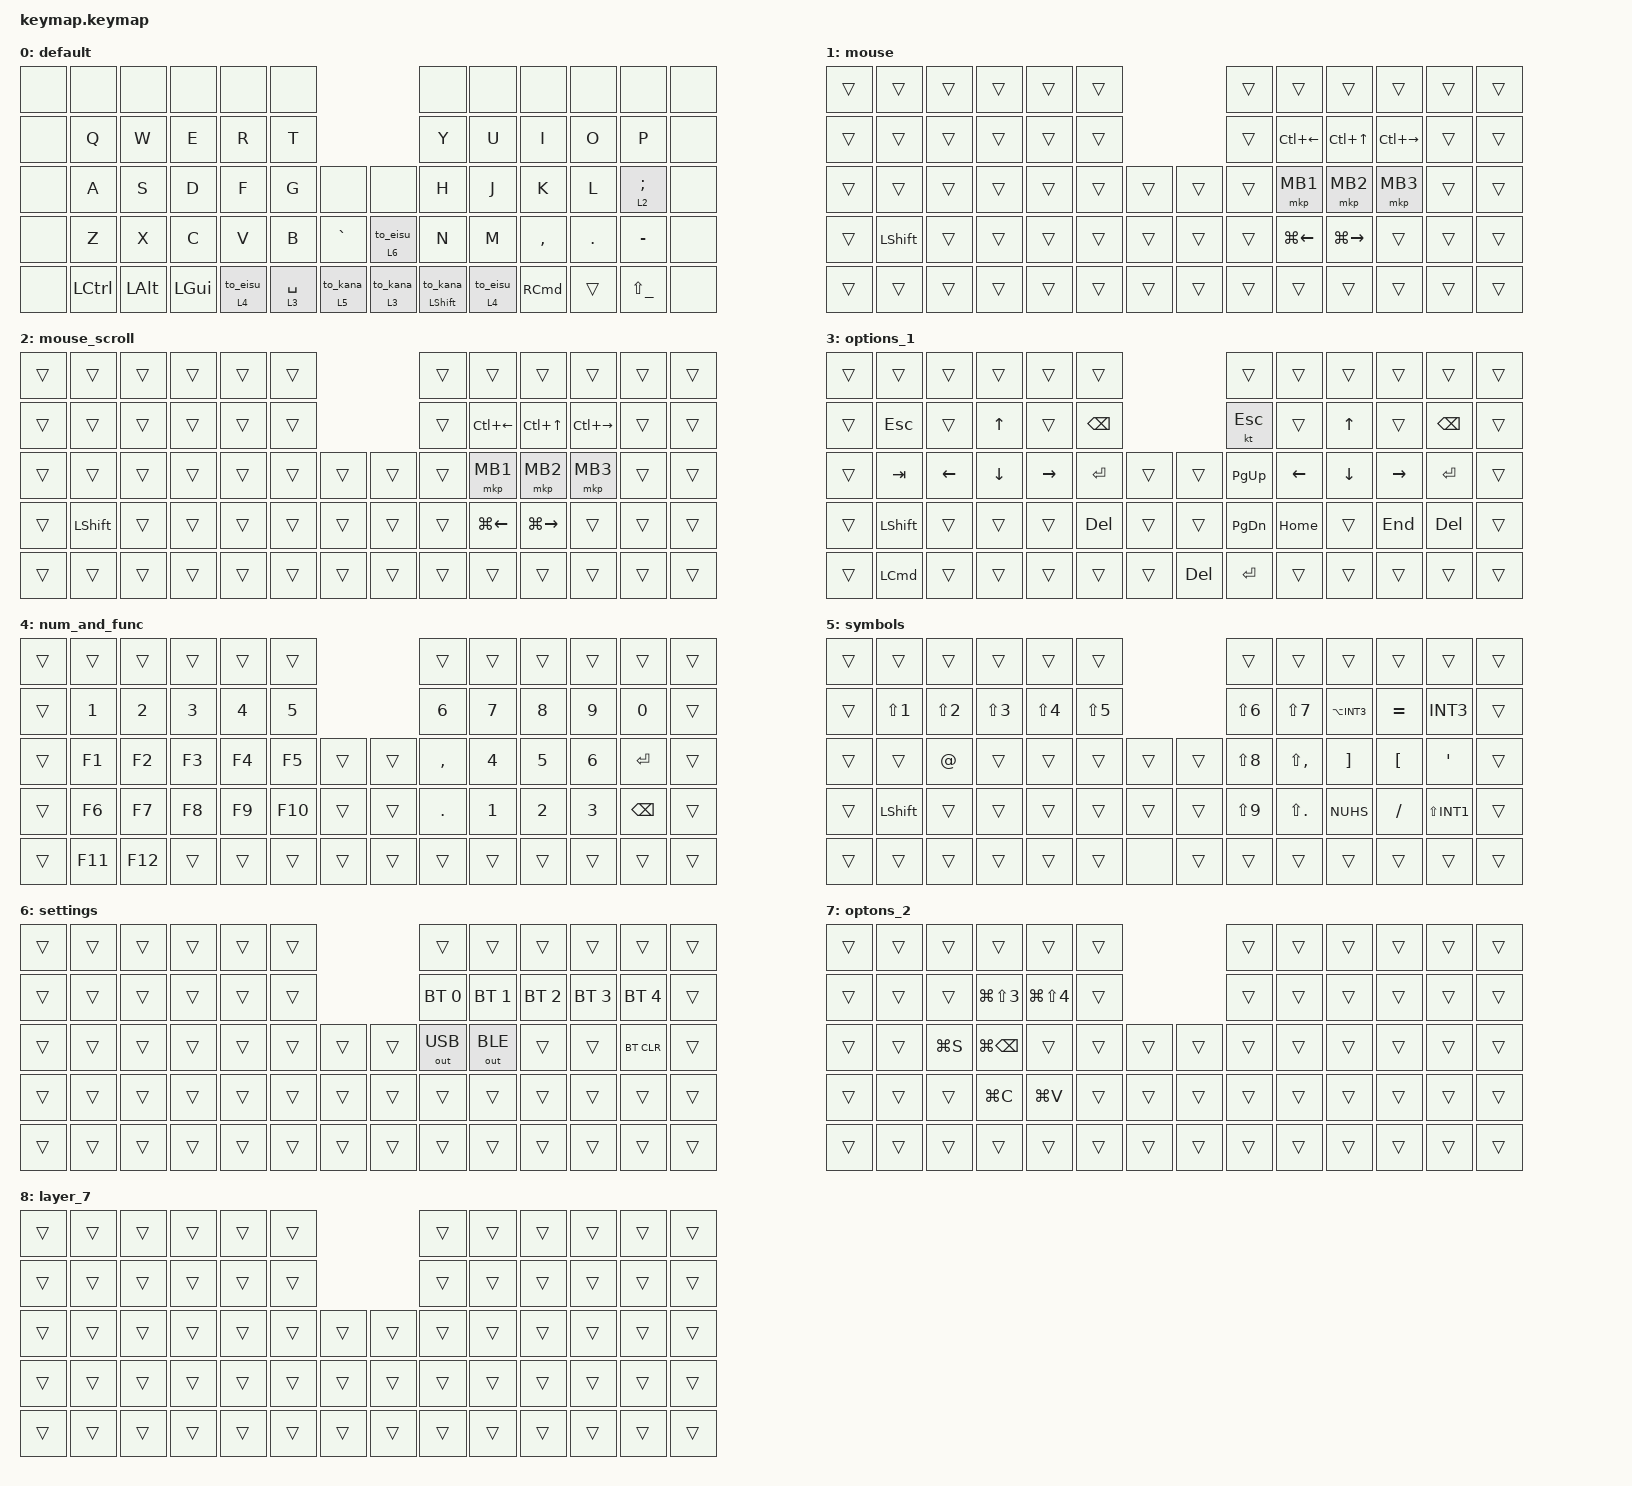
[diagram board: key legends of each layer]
// OS設定を日本語キーボードのまま使用するための変換定義

#define JP_ZKHK  GRAVE        // Zenkaku ↔ Hankaku ↔ Kanji (半角 ↔ 全角 ↔ 漢字)
#define JP_MINUS MINUS        // -
#define JP_CARET EQUAL        // ^
#define JP_YEN   INT3         // ¥
#define JP_AT    LBKT         // @
#define JP_LBKT  RBKT         // [
#define JP_EISU  CAPS         // Eisū (英数)
#define JP_SEMI  SEMI         // ;
#define JP_COLON SQT          // :
#define JP_RBKT  NUHS         // ]
#define JP_COMMA COMMA        // ,
#define JP_DOT   DOT          // .
#define JP_SLASH SLASH        // /

// #define JP_BSLH  INT1      // (backslash)

#define JP_BSLH  LA(INT3)     // \(backslash)
#define JP_MHEN  INT5         // Muhenkan (無変換)
#define JP_HENK  INT4         // Henkan (変換)
#define JP_KANA  INT2         // Katakana ↔ Hiragana ↔ Rōmaji (カタカナ ↔ ひらがな ↔ ローマ字)
#define JP_EXCL  LS(N1)       // !
#define JP_DQT   LS(N2)       // "
#define JP_HASH  LS(N3)       // #
#define JP_DLLR  LS(N4)       // $
#define JP_PRCNT LS(N5)       // %
#define JP_AMPS  LS(N6)       // &
#define JP_SQT   LS(N7)       // '
#define JP_LPAR  LS(N8)       // (
#define JP_RPAR  LS(N9)       // )
#define JP_EQUAL LS(JP_MINUS) // =
#define JP_TILDE LS(JP_CARET) // ~
#define JP_PIPE  LS(JP_YEN)   // |
#define JP_GRAVE LS(JP_AT)    // `
#define JP_LBRC  LS(JP_LBKT)  // {
#define JP_CAPS  LS(JP_EISU)  // Caps Lock
#define JP_PLUS  LS(JP_SEMI)  // +
#define JP_ASTRK LS(JP_COLON) // *
#define JP_RBRC  LS(JP_RBKT)  // }
#define JP_LT    LS(JP_COMMA) // <
#define JP_RT    LS(JP_DOT)   // >
#define JP_QMARK LS(JP_SLASH) // ?
#define JP_UNDER LS(INT1)     // _

// /OS設定を日本語キーボードのまま使用するための変換定義

#include <behaviors.dtsi>
#include <dt-bindings/zmk/bt.h>
#include <dt-bindings/zmk/keys.h>
#include <dt-bindings/zmk/outputs.h>
#include <dt-bindings/zmk/pointing.h>

&lt {
    flavor = "hold-preferred";
    quick-tap-ms = <(-1)>;
    require-prior-idle-ms = <(-1)>;
};

&mt { flavor = "hold-preferred"; };

/ {
    combos {
        compatible = "zmk,combos";

        sys_reset {
            bindings = <&sys_reset>;
            key-positions = <53 64>;
        };

        to_number {
            bindings = <&mo 4>;
            key-positions = <59 60>;
        };

        to_option2 {
            bindings = <&mo 7>;
            key-positions = <58 57>;
        };

        kp_command {
            bindings = <&kp LEFT_COMMAND>;
            key-positions = <56 57>;
        };
    };

    macros {
        to_eisu: to_eisu {
            compatible = "zmk,behavior-macro";
            #binding-cells = <0>;
            bindings = <&kp LANG2 &kp INT5>;
            label = "TO_EISU";
        };

        to_kana: to_kana {
            compatible = "zmk,behavior-macro";
            #binding-cells = <0>;
            bindings = <&kp LANG1 &kp INT4>;
            label = "TO_KANA";
        };
    };

    behaviors {
        lt_eisu: lt_eisu {
            compatible = "zmk,behavior-hold-tap";
            label = "LT_EISU";
            bindings = <&mo>, <&to_eisu>;

            #binding-cells = <2>;
            tapping-term-ms = <150>;
            flavor = "hold-preferred";
            quick-tap-ms = <250>;
        };

        lt_kana: lt_kana {
            compatible = "zmk,behavior-hold-tap";
            label = "LT_KANA";
            bindings = <&mo>, <&to_kana>;

            #binding-cells = <2>;
            tapping-term-ms = <150>;
            flavor = "hold-preferred";
            quick-tap-ms = <250>;
        };

        mt_eisu: mt_eisu {
            compatible = "zmk,behavior-hold-tap";
            label = "MT_EISU";
            bindings = <&kp>, <&to_eisu>;

            #binding-cells = <2>;
            tapping-term-ms = <200>;
            flavor = "tap-unless-interrupted";
        };

        mt_kana: mt_kana {
            compatible = "zmk,behavior-hold-tap";
            label = "MT_KANA";
            bindings = <&kp>, <&to_kana>;

            #binding-cells = <2>;
            tapping-term-ms = <200>;
            flavor = "balanced";
        };

        lt_retro: lt_retro {
            compatible = "zmk,behavior-hold-tap";
            label = "LT_RETRO";
            bindings = <&mo>, <&kp>;

            #binding-cells = <2>;
            tapping-term-ms = <0>;
            retro-tap;
        };

        mt_retor: mt_retor {
            compatible = "zmk,behavior-hold-tap";
            label = "MT_RETOR";
            bindings = <&kp>, <&kp>;

            #binding-cells = <2>;
            tapping-term-ms = <0>;
            retro-tap;
        };

        lt_tp: lt_tp {
            compatible = "zmk,behavior-hold-tap";
            label = "LT_TP";
            bindings = <&mo>, <&kp>;

            #binding-cells = <2>;
            tapping-term-ms = <200>;
            flavor = "tap-preferred";
            quick-tap-ms = <250>;
        };

        lt_unless: lt_unless {
            compatible = "zmk,behavior-hold-tap";
            label = "LT_UNLESS";
            bindings = <&mo>, <&kp>;

            #binding-cells = <2>;
            flavor = "tap-unless-interrupted";
            tapping-term-ms = <1000>;
            quick-tap-ms = <(-1)>;
            require-prior-idle-ms = <(-1)>;
        };

        lt_hp: lt_hp {
            compatible = "zmk,behavior-hold-tap";
            label = "LT_HP";
            bindings = <&mo>, <&kp>;

            #binding-cells = <2>;
            flavor = "hold-preferred";
            tapping-term-ms = <150>;
            quick-tap-ms = <250>;
        };

        mt_ba: mt_ba {
            compatible = "zmk,behavior-hold-tap";
            label = "MT_BA";
            bindings = <&kp>, <&kp>;

            #binding-cells = <2>;
            flavor = "balanced";
            tapping-term-ms = <200>;
            quick-tap-ms = <250>;
        };

        func_L1: func_L1 {
            compatible = "zmk,behavior-hold-tap";
            label = "FUNC_L1";
            bindings = <&mo>, <&to_eisu>;

            #binding-cells = <2>;
            flavor = "hold-preferred";
            tapping-term-ms = <150>;
        };

        func_L2: func_L2 {
            compatible = "zmk,behavior-hold-tap";
            label = "FUNC_L2";
            bindings = <&mo>, <&kp>;

            #binding-cells = <2>;
            flavor = "hold-preferred";
            tapping-term-ms = <250>;
        };

        func_R2: func_R2 {
            compatible = "zmk,behavior-hold-tap";
            label = "FUNC_R2";
            bindings = <&kp>, <&lt_kana>;

            #binding-cells = <2>;
            flavor = "hold-preferred";
            quick-tap-ms = <150>;
            tapping-term-ms = <175>;
        };
    };

    keymap {
        compatible = "zmk,keymap";

        default {
            bindings = <
&none  &none      &none     &none     &none         &none                                         &none                  &none         &none              &none    &none          &none
&none  &kp Q      &kp W     &kp E     &kp R         &kp T                                         &kp Y                  &kp U         &kp I              &kp O    &kp P          &none
&none  &kp A      &kp S     &kp D     &kp F         &kp G             &none         &none         &kp H                  &kp J         &kp K              &kp L    &lt_hp 2 SEMI  &none
&none  &kp Z      &kp X     &kp C     &kp V         &kp B             &kp JP_ZKHK   &lt_eisu 6 0  &kp N                  &kp M         &kp COMMA          &kp DOT  &kp MINUS      &none
&none  &kp LCTRL  &kp LALT  &kp LGUI  &func_L1 4 0  &func_L2 3 SPACE  &lt_kana 5 0  &lt_kana 3 0  &mt_kana LEFT_SHIFT 0  &func_L1 4 0  &kp RIGHT_COMMAND  &trans   &kp LS(UNDER)  &none
            >;
        };

        mouse {
            bindings = <
&trans  &trans          &trans  &trans  &trans  &trans                  &trans  &trans              &trans         &trans         &trans  &trans
&trans  &trans          &trans  &trans  &trans  &trans                  &trans  &kp LC(LEFT)        &kp LC(UP)     &kp LC(RIGHT)  &trans  &trans
&trans  &trans          &trans  &trans  &trans  &trans  &trans  &trans  &trans  &mkp MB1            &mkp MB2       &mkp MB3       &trans  &trans
&trans  &kp LEFT_SHIFT  &trans  &trans  &trans  &trans  &trans  &trans  &trans  &kp LG(LEFT_ARROW)  &kp LG(RIGHT)  &trans         &trans  &trans
&trans  &trans          &trans  &trans  &trans  &trans  &trans  &trans  &trans  &trans              &trans         &trans         &trans  &trans
            >;
        };

        mouse_scroll {
            bindings = <
&trans  &trans          &trans  &trans  &trans  &trans                  &trans  &trans              &trans         &trans         &trans  &trans
&trans  &trans          &trans  &trans  &trans  &trans                  &trans  &kp LC(LEFT)        &kp LC(UP)     &kp LC(RIGHT)  &trans  &trans
&trans  &trans          &trans  &trans  &trans  &trans  &trans  &trans  &trans  &mkp MB1            &mkp MB2       &mkp MB3       &trans  &trans
&trans  &kp LEFT_SHIFT  &trans  &trans  &trans  &trans  &trans  &trans  &trans  &kp LG(LEFT_ARROW)  &kp LG(RIGHT)  &trans         &trans  &trans
&trans  &trans          &trans  &trans  &trans  &trans  &trans  &trans  &trans  &trans              &trans         &trans         &trans  &trans
            >;
        };

        options_1 {
            bindings = <
&trans  &trans            &trans    &trans    &trans     &trans                          &trans     &trans    &trans    &trans     &trans      &trans
&trans  &kp ESC           &trans    &kp UP    &trans     &kp BSPC                        &kt ESC    &trans    &kp UP    &trans     &kp BSPC    &trans
&trans  &kp TAB           &kp LEFT  &kp DOWN  &kp RIGHT  &kp RET     &trans  &trans      &kp PG_UP  &kp LEFT  &kp DOWN  &kp RIGHT  &kp ENTER   &trans
&trans  &kp LSHFT         &trans    &trans    &trans     &kp DELETE  &trans  &trans      &kp PG_DN  &kp HOME  &trans    &kp END    &kp DELETE  &trans
&trans  &kp LEFT_COMMAND  &trans    &trans    &trans     &trans      &trans  &kp DELETE  &kp RET    &trans    &trans    &trans     &trans      &trans
            >;
        };

        num_and_func {
            bindings = <
&trans  &trans   &trans   &trans  &trans  &trans                   &trans     &trans  &trans  &trans  &trans         &trans
&trans  &kp N1   &kp N2   &kp N3  &kp N4  &kp N5                   &kp N6     &kp N7  &kp N8  &kp N9  &kp N0         &trans
&trans  &kp F1   &kp F2   &kp F3  &kp F4  &kp F5   &trans  &trans  &kp COMMA  &kp N4  &kp N5  &kp N6  &kp ENTER      &trans
&trans  &kp F6   &kp F7   &kp F8  &kp F9  &kp F10  &trans  &trans  &kp DOT    &kp N1  &kp N2  &kp N3  &kp BACKSPACE  &trans
&trans  &kp F11  &kp F12  &trans  &trans  &trans   &trans  &trans  &trans     &trans  &trans  &trans  &trans         &trans
            >;
        };

        symbols {
            bindings = <
&trans  &trans            &trans            &trans            &trans            &trans                            &trans            &trans            &trans       &trans        &trans        &trans
&trans  &kp LS(NUMBER_1)  &kp LS(NUMBER_2)  &kp LS(NUMBER_3)  &kp LS(NUMBER_4)  &kp LS(NUMBER_5)                  &kp LS(NUMBER_6)  &kp LS(NUMBER_7)  &kp JP_BSLH  &kp JP_CARET  &kp JP_YEN    &trans
&trans  &trans            &kp AT_SIGN       &trans            &trans            &trans            &trans  &trans  &kp LS(NUMBER_8)  &kp LS(COMMA)     &kp JP_LBKT  &kp JP_AT     &kp JP_COLON  &trans
&trans  &kp LEFT_SHIFT    &trans            &trans            &trans            &trans            &trans  &trans  &kp LS(NUMBER_9)  &kp LS(PERIOD)    &kp JP_RBKT  &kp JP_SLASH  &kp JP_UNDER  &trans
&trans  &trans            &trans            &trans            &trans            &trans            &none   &trans  &trans            &trans            &trans       &trans        &trans        &trans
            >;
        };

        settings {
            bindings = <
&trans  &trans  &trans  &trans  &trans  &trans                  &trans        &trans        &trans        &trans        &trans        &trans
&trans  &trans  &trans  &trans  &trans  &trans                  &bt BT_SEL 0  &bt BT_SEL 1  &bt BT_SEL 2  &bt BT_SEL 3  &bt BT_SEL 4  &trans
&trans  &trans  &trans  &trans  &trans  &trans  &trans  &trans  &out OUT_USB  &out OUT_BLE  &trans        &trans        &bt BT_CLR    &trans
&trans  &trans  &trans  &trans  &trans  &trans  &trans  &trans  &trans        &trans        &trans        &trans        &trans        &trans
&trans  &trans  &trans  &trans  &trans  &trans  &trans  &trans  &trans        &trans        &trans        &trans        &trans        &trans
            >;
        };

        optons_2 {
            bindings = <
&trans  &trans  &trans     &trans             &trans          &trans                  &trans  &trans  &trans  &trans  &trans  &trans
&trans  &trans  &trans     &kp LG(LS(N3))     &kp LG(LS(N4))  &trans                  &trans  &trans  &trans  &trans  &trans  &trans
&trans  &trans  &kp LG(S)  &kp LG(BACKSPACE)  &trans          &trans  &trans  &trans  &trans  &trans  &trans  &trans  &trans  &trans
&trans  &trans  &trans     &kp LG(C)          &kp LG(V)       &trans  &trans  &trans  &trans  &trans  &trans  &trans  &trans  &trans
&trans  &trans  &trans     &trans             &trans          &trans  &trans  &trans  &trans  &trans  &trans  &trans  &trans  &trans
            >;
        };

        layer_7 {
            bindings = <
&trans  &trans  &trans  &trans  &trans  &trans                  &trans  &trans  &trans  &trans  &trans  &trans
&trans  &trans  &trans  &trans  &trans  &trans                  &trans  &trans  &trans  &trans  &trans  &trans
&trans  &trans  &trans  &trans  &trans  &trans  &trans  &trans  &trans  &trans  &trans  &trans  &trans  &trans
&trans  &trans  &trans  &trans  &trans  &trans  &trans  &trans  &trans  &trans  &trans  &trans  &trans  &trans
&trans  &trans  &trans  &trans  &trans  &trans  &trans  &trans  &trans  &trans  &trans  &trans  &trans  &trans
            >;
        };
    };
};
